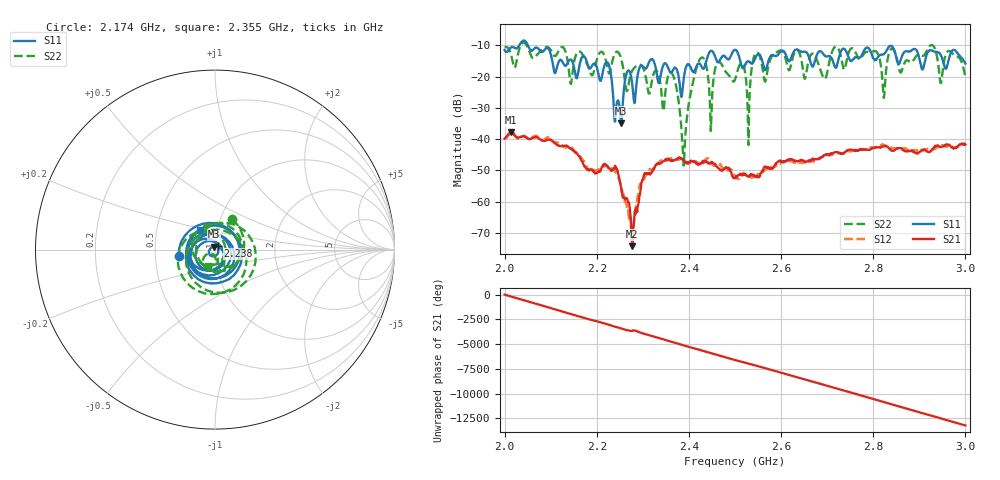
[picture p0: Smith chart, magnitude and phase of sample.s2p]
# GHZ S DB R 50
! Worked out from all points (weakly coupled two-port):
!   1002 points, 2 GHz to 3 GHz, reference 50 ohm
!   highest |S21| = -37.89 dB at 2.014 GHz (marker M1); lowest = -74.3 dB at 2.277 GHz (marker M2)
!   lowest |S11| = -34.9 dB at 2.253 GHz (marker M3), VSWR 1.04, Z = 49.3 + j1.63 ohm
!   |S11| at or under -10 dB: start of sweep to 2.032 GHz; 2.051 GHz to end of sweep
!   |S22| runs from -48.5 to -9.2 dB; largest |S21 - S12| = 0.0013
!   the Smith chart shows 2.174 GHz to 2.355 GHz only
!   S11 on the Smith chart (normalised r, x): 2.174 GHz: 0.66, -0.05; 2.238 GHz: 1.03, +0.04; 2.355 GHz: 0.82, +0.18
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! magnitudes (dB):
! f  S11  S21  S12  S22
! 2 GHz  -11.5  -39.9  -39.6  -10.7
! 2.014 GHz  -10.7  -37.9  -37.7  -13.0
! 2.167 GHz  -14.1  -46.8  -46.2  -12.4
! 2.174 GHz  -13.8  -48.8  -47.8  -14.2
! 2.224 GHz  -15.6  -48.8  -48.6  -17.7
! 2.238 GHz  -31.9  -49.2  -49.7  -13.1
! 2.253 GHz  -34.9  -55.4  -54.6  -14.2
! 2.277 GHz  -22.1  -74.3  -72.3  -18.2
! 2.334 GHz  -21.9  -47.8  -47.7  -19.2
! 2.355 GHz  -17.1  -46.4  -46.6  -20.0
! 2.389 GHz  -20.9  -46.8  -46.5  -48.5
! 2.425 GHz  -16.1  -48.0  -47.8  -14.3
! 2.448 GHz  -11.8  -47.5  -47.5  -37.4
! 2.464 GHz  -15.5  -49.2  -48.2  -15.4
! 2.5 GHz  -11.5  -52.5  -51.9  -20.8
! 2.528 GHz  -15.1  -52.0  -51.7  -38.7
! 2.546 GHz  -13.4  -52.1  -52.0  -12.3
! 2.667 GHz  -16.7  -46.4  -47.0  -12.7
! 2.804 GHz  -14.7  -42.7  -42.7  -11.9
! 2.823 GHz  -12.8  -42.2  -41.9  -26.9
! 2.834 GHz  -10.5  -43.0  -42.7  -12.6
! 3 GHz  -15.9  -41.8  -41.3  -20.0
